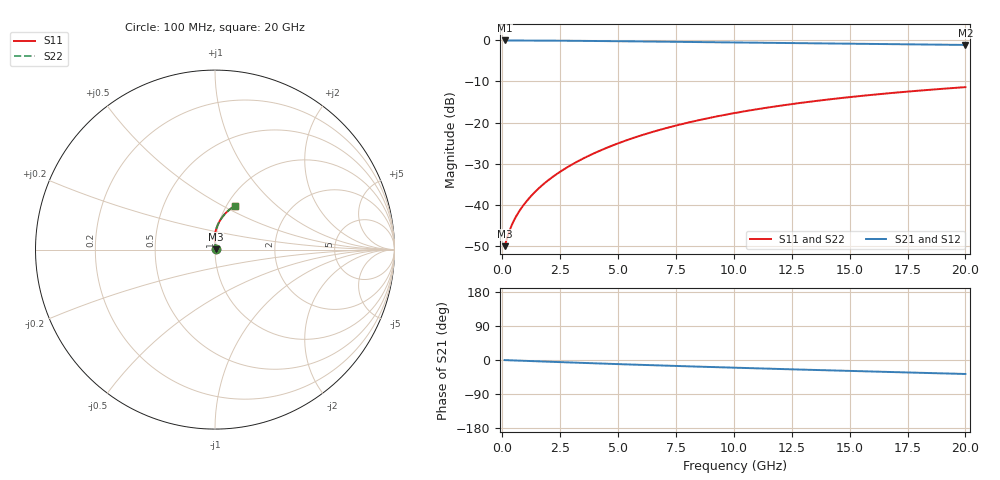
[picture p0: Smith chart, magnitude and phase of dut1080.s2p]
! Touchstone file exported from HFSS 2024.1.0
!  File:  C:/UserFiles/LocalFiles/RDL_TSV_Batchsim/temp_RDL_bottom_1080_1780053145.aedt
!  Generated:  07:14:45 PM May 29, 2026
!  Design:  RDL_bottom
!  Project:  temp_RDL_bottom_1080_1780053145
!  Setup:  Setup1
!  Solution:  Sweep
! Variables:
!  dtsv = 10.80580581um
!  hbump = 3um
!  htsv = 67.49um
!  ldown = 566.16um
!  lrdl = 100um
!  p = 40
!  p1 = 45.94um
!  rhole = 1um
!  t = 450um
!  tdown = 2.78um
!  trdl = 3.915915916um
!  wdown = 28.07um
!  wrdl = 20um
# GHz S MA R 50.000000
! Terminal data exported
! Port[1] = RDL1_T1
! Port[2] = RDL1_T2
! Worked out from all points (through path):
!   200 points, 100 MHz to 20 GHz, reference 50 ohm
!   highest |S21| = -0.03 dB at 100 MHz (marker M1); lowest = -1.1 dB at 20 GHz (marker M2)
!   group delay of S21, straight-line fit = 5.05 ps
!   lowest |S11| = -50.1 dB at 100 MHz (marker M3), VSWR 1.01, Z = 50.3 + j0.125 ohm
!   |S11| at or under -10 dB: start of sweep to end of sweep
!   |S22| runs from -50.1 to -11.4 dB; largest |S21 - S12| = 3.2e-15
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0.1  0.003142 23.4  0.9971 -0.2  0.9971 -0.2  0.003142 23.4
! Gamma 0 0 0 0
! Port Impedance 50 0 50 0
0.3  0.004743 47.1  0.9966 -0.7  0.9966 -0.7  0.004743 47.1
0.4  0.005598 52.8  0.9964 -0.9  0.9964 -0.9  0.005598 52.8
0.5  0.006434 57.1  0.9962 -1.2  0.9962 -1.2  0.006434 57.1
0.6  0.007261 60.6  0.9959 -1.4  0.9959 -1.4  0.007261 60.6
0.8  0.008926 66.2  0.9955 -1.8  0.9955 -1.8  0.008926 66.2
1  0.01064 70.5  0.9951 -2.3  0.9951 -2.3  0.01064 70.5
1.2  0.01241 74.0  0.9946 -2.7  0.9946 -2.7  0.01241 74.0
1.7  0.01709 80.0  0.9932 -3.8  0.9932 -3.8  0.01709 80.0
2.2  0.0221 84.0  0.9915 -5.0  0.9915 -5.0  0.0221 83.9
2.8  0.02855 87.1  0.9889 -6.3  0.9889 -6.3  0.02855 87.0
3.5  0.03665 89.3  0.9854 -7.8  0.9854 -7.8  0.03664 89.2
4.2  0.04534 90.5  0.9814 -9.2  0.9814 -9.2  0.04532 90.4
5  0.05592 91.0  0.9764 -10.9  0.9764 -10.9  0.05588 90.9
5.9  0.06848 90.7  0.9704 -12.7  0.9704 -12.7  0.06844 90.7
6.8  0.08159 90.0  0.9643 -14.4  0.9643 -14.4  0.08153 89.9
8.4  0.1057 87.7  0.9532 -17.4  0.9532 -17.4  0.1056 87.6
10.1  0.1317 84.6  0.9415 -20.5  0.9415 -20.5  0.1316 84.5
11.7  0.1559 81.4  0.9309 -23.3  0.9309 -23.3  0.1558 81.4
13.4  0.1811 78.0  0.9199 -26.2  0.9199 -26.2  0.181 78.0
16.7  0.2275 71.4  0.8993 -31.6  0.8993 -31.6  0.2273 71.4
20  0.2698 65.2  0.8795 -36.9  0.8795 -36.9  0.2696 65.2
